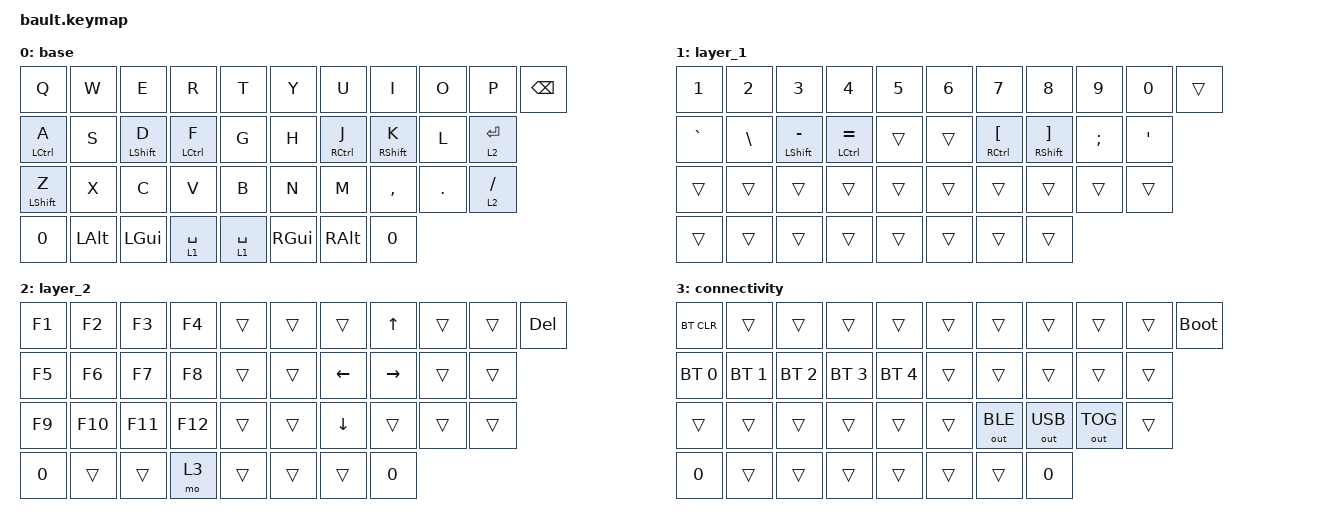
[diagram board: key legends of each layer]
#include <behaviors.dtsi>
#include <dt-bindings/zmk/keys.h>
#include <dt-bindings/zmk/bt.h>
#include <dt-bindings/zmk/outputs.h>

/ {

    behaviors {
        hm: homerow_mods {
            compatible = "zmk,behavior-hold-tap";
            display-name = "Homerow Mods";
            bindings = <&kp>, <&kp>;

            #binding-cells = <2>;
            tapping-term-ms = <200>;
            quick-tap-ms = <180>;
            require-prior-idle-ms = <0>;
            flavor = "tap-preferred";
        };
    };

    combos {
        compatible = "zmk,combos";
        combo_esc {
            timeout-ms = <50>;
            key-positions = <0 1>;
            bindings = <&kp ESC>;
        };
        combo_tab {
            timeout-ms = <50>;
            key-positions = <0 11>;
            bindings = <&kp TAB>;
        };
        combo_unlock {
            timeout-ms = <50>;
            key-positions = <0 10>;
            bindings = <&studio_unlock>;
        };
        combo_del {
            timeout-ms = <50>;
            key-positions = <9 10>;
            bindings = <&kp DEL>;
        };
    };

    keymap {
        compatible = "zmk,keymap";

        base {
            bindings = <
                &kp Q               &kp W         &kp E             &kp R               &kp T            &kp Y          &kp U                &kp I              &kp O           &kp P    &kp BACKSPACE
                &hm LEFT_CONTROL A  &kp S         &hm LEFT_SHIFT D  &hm LEFT_CONTROL F  &kp G            &kp H          &hm RIGHT_CONTROL J  &hm RIGHT_SHIFT K  &kp L           &lt 2 RETURN
                &hm LEFT_SHIFT Z    &kp X         &kp C             &kp V               &kp B            &kp N          &kp M                &kp COMMA          &kp PERIOD      &lt 2 SLASH
                &kp N0              &kp LEFT_ALT  &kp LGUI          &lt 1 SPACE         &lt 1 SPACE    &kp RIGHT_GUI  &kp RIGHT_ALT &kp N0
            >;
        };


        layer_1 {
            bindings = <
                &kp N1    &kp N2    &kp N3               &kp N4                 &kp N5    &kp N6    &kp N7                  &kp N8                &kp N9    &kp N0    &trans
                &kp GRAVE &kp BSLH  &hm LEFT_SHIFT MINUS &hm LEFT_CONTROL EQUAL &trans    &trans    &hm RIGHT_CONTROL LBKT  &hm RIGHT_SHIFT RBKT  &kp SEMI  &kp SQT
                &trans  &trans  &trans  &trans  &trans  &trans    &trans    &trans    &trans    &trans
                &trans  &trans  &trans  &trans  &trans  &trans   &trans    &trans
            >;
        };

        layer_2 {
            bindings = <
                &kp F1  &kp F2   &kp F3   &kp F4   &trans  &trans  &trans    &kp UP    &trans     &trans   &kp DEL
                &kp F5  &kp F6   &kp F7   &kp F8   &trans  &trans  &kp LEFT    &kp RIGHT    &trans  &trans
                &kp F9  &kp F10  &kp F11  &kp F12  &trans  &trans        &kp DOWN  &trans  &trans  &trans
                &kp N0   &trans  &trans  &mo 3  &trans  &trans    &trans &kp N0
            >;
        };

        connectivity {
            bindings = <
                &bt BT_CLR  &trans  &trans  &trans  &trans  &trans  &trans  &trans  &trans  &trans  &bootloader
                &bt BT_SEL 0  &bt BT_SEL 1  &bt BT_SEL 2  &bt BT_SEL 3  &bt BT_SEL 4  &trans        &trans        &trans        &trans        &trans
                &trans  &trans  &trans  &trans  &trans  &trans    &out OUT_BLE  &out OUT_USB  &out OUT_TOG  &trans
                &kp N0   &trans  &trans  &trans  &trans        &trans        &trans &kp N0
            >;
        };
    };
};
